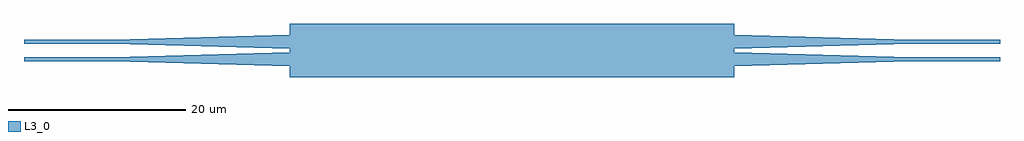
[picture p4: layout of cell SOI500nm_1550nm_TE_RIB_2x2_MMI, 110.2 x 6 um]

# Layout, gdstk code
import gdstk
lib = gdstk.Library(unit=1e-6, precision=1e-09)
def R(c, l, rs):  # rectangles x0, y0, x1, y1
    for r in rs: c.add(gdstk.rectangle(r[:2], r[2:], *l))
def P(c, l, *ps):  # polygons
    for p in ps: c.add(gdstk.Polygon(p, *l))
L3_0 = (3, 0)

soi500nm_1550nm_te_rib_2 = lib.new_cell('SOI500nm_1550nm_TE_RIB_2x2_MMI')
R(soi500nm_1550nm_te_rib_2, L3_0, [(-25.74,-3,24.46,3), (-55.74,-1.225,-45.74,-0.775), (44.46,-1.225,54.46,-0.775), (-55.74,0.775,-45.74,1.225), (44.46,0.775,54.46,1.225)])
P(soi500nm_1550nm_te_rib_2, L3_0, [(24.46,-1.8),(24.46,-0.2),(44.46,-0.775),(44.46,-1.225)],
  [(24.46,0.2),(24.46,1.8),(44.46,1.225),(44.46,0.775)],
  [(-25.74,-1.8),(-45.74,-1.225),(-45.74,-0.775),(-25.74,-0.2)],
  [(-25.74,0.2),(-45.74,0.775),(-45.74,1.225),(-25.74,1.8)])

lib.write_gds('SOI500nm_1550nm_TE_RIB_2x2_MMI.gds')
